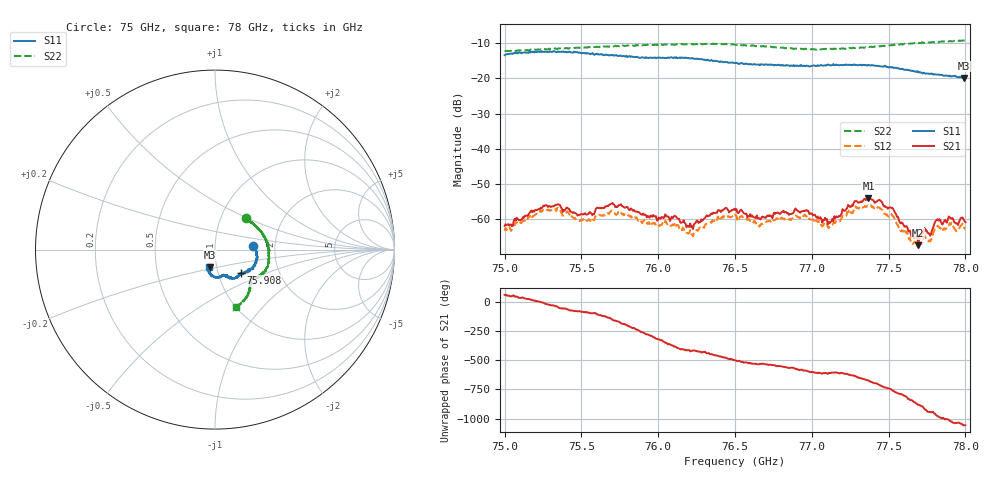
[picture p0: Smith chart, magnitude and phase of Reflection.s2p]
# Hz S MA R 50
! CMT, C4420, 21421029, 25.1.2/3
! Date: 8/7/2025 11:59:01 AM
! Data: Format (Calibration Info)
! Freq	S33:Mag/Ang(F2)	S43:Mag/Ang(F2)	S34:Mag/Ang(F2)	S44:Mag/Ang(F2)
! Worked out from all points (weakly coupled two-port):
!   500 points, 75 GHz to 78 GHz, reference 50 ohm
!   highest |S21| = -54.05 dB at 77.369 GHz (marker M1); lowest = -67.4 dB at 77.693 GHz (marker M2)
!   lowest |S11| = -19.9 dB at 77.988 GHz (marker M3), VSWR 1.22, Z = 46.2 - j9.01 ohm
!   |S11| at or under -10 dB: start of sweep to end of sweep
!   |S22| runs from -12.4 to -9.3 dB; largest |S21 - S12| = 0.0006
!   S11 on the Smith chart (normalised r, x): 75 GHz: 1.54, +0.07; 75.908 GHz: 1.28, -0.35; 78 GHz: 0.92, -0.18
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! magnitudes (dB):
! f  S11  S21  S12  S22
! 75 GHz  -13.4  -61.8  -63.2  -12.2
! 75.259 GHz  -12.5  -56.2  -57.1  -11.8
! 75.505 GHz  -12.8  -58.6  -60.1  -11.2
! 75.697 GHz  -13.4  -55.5  -57.5  -11.1
! 75.908 GHz  -14.2  -58.7  -60.3  -10.5
! 76.004 GHz  -14.2  -59.4  -61.7  -10.4
! 76.112 GHz  -14.2  -59.1  -62.2  -10.5
! 76.226 GHz  -14.3  -62.7  -64.8  -10.4
! 76.389 GHz  -15.2  -57.5  -59.2  -10.3
! 76.503 GHz  -15.7  -57.5  -58.8  -10.4
! 76.665 GHz  -16.0  -60.0  -61.6  -10.9
! 76.9 GHz  -16.4  -57.3  -59.0  -11.6
! 77.002 GHz  -16.4  -58.4  -60.0  -11.7
! 77.116 GHz  -16.3  -61.0  -62.1  -11.7
! 77.285 GHz  -16.2  -54.9  -56.3  -11.4
! 77.369 GHz  -16.2  -54.1  -56.2  -11.1
! 77.501 GHz  -16.9  -56.7  -59.2  -10.7
! 77.693 GHz  -18.3  -67.4  -67.6  -10.0
! 77.772 GHz  -18.8  -64.6  -66.2  -9.9
! 77.82 GHz  -18.9  -59.9  -61.8  -9.7
! 77.988 GHz  -19.9  -60.0  -62.1  -9.3
! 78 GHz  -19.9  -60.8  -62.7  -9.3
